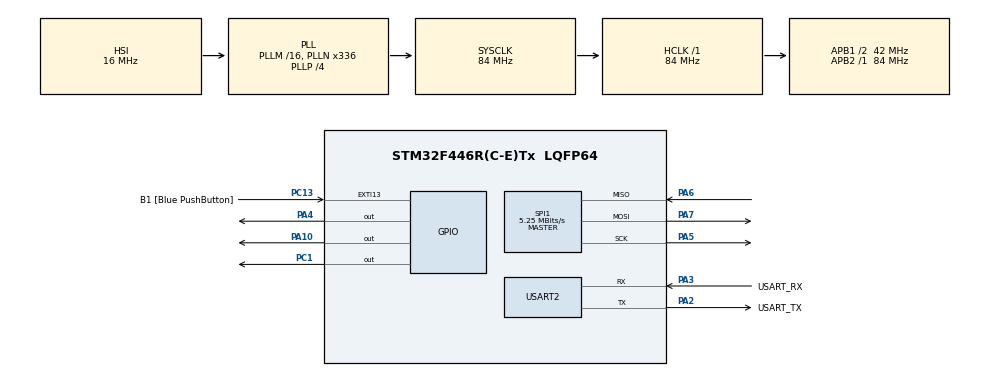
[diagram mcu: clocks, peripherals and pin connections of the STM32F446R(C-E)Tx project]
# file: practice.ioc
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Mcu.Family=STM32F4
Mcu.Name=STM32F446R(C-E)Tx
Mcu.Package=LQFP64
NVIC.PriorityGroup=NVIC_PRIORITYGROUP_0
PA10.Signal=GPIO_Output
PA13.GPIO_Label=TMS
PA13.Mode=Serial_Wire
PA13.Signal=SYS_JTMS-SWDIO
PA14.GPIO_Label=TCK
PA14.Mode=Serial_Wire
PA14.Signal=SYS_JTCK-SWCLK
PA2.GPIO_Label=USART_TX
PA2.Mode=Asynchronous
PA2.Signal=USART2_TX
PA3.GPIO_Label=USART_RX
PA3.Mode=Asynchronous
PA3.Signal=USART2_RX
PA4.PinState=GPIO_PIN_SET
PA4.Signal=GPIO_Output
PA5.Mode=Full_Duplex_Master
PA5.Signal=SPI1_SCK
PA6.Mode=Full_Duplex_Master
PA6.Signal=SPI1_MISO
PA7.Mode=Full_Duplex_Master
PA7.Signal=SPI1_MOSI
PB3.GPIO_Label=SWO
PB3.Signal=SYS_JTDO-SWO
PC1.Signal=GPIO_Output
PC13.GPIO_Label=B1 [Blue PushButton]
PC13.GPIO_ModeDefaultEXTI=GPIO_MODE_IT_FALLING
PC13.Signal=GPXTI13
PC14-OSC32_IN.Mode=LSE-External-Oscillator
PC14-OSC32_IN.Signal=RCC_OSC32_IN
PC15-OSC32_OUT.Mode=LSE-External-Oscillator
PC15-OSC32_OUT.Signal=RCC_OSC32_OUT
PH0-OSC_IN.Mode=HSE-External-Oscillator
PH0-OSC_IN.Signal=RCC_OSC_IN
PH1-OSC_OUT.Mode=HSE-External-Oscillator
PH1-OSC_OUT.Signal=RCC_OSC_OUT
ProjectManager.HeapSize=0x200
ProjectManager.StackSize=0x400
ProjectManager.TargetToolchain=Makefile
RCC.48MHZClocksFreq_Value=84000000
RCC.AHBFreq_Value=84000000
RCC.APB1CLKDivider=RCC_HCLK_DIV2
RCC.APB1Freq_Value=42000000
RCC.APB1TimFreq_Value=84000000
RCC.APB2Freq_Value=84000000
RCC.APB2TimFreq_Value=84000000
RCC.CortexFreq_Value=84000000
RCC.FLatency-AdvancedSettings=FLASH_LATENCY_2
RCC.HCLKFreq_Value=84000000
RCC.HSE_VALUE=8000000
RCC.HSI_VALUE=16000000
RCC.PLLN=336
RCC.PLLP=RCC_PLLP_DIV4
RCC.SYSCLKFreq_VALUE=84000000
RCC.SYSCLKSource=RCC_SYSCLKSOURCE_PLLCLK
RCC.USBFreq_Value=168000000
RCC.VCOOutputFreq_Value=336000000
SPI1.BaudRatePrescaler=SPI_BAUDRATEPRESCALER_16
SPI1.CLKPhase=SPI_PHASE_2EDGE
SPI1.CLKPolarity=SPI_POLARITY_HIGH
SPI1.CalculateBaudRate=5.25 MBits/s
SPI1.Direction=SPI_DIRECTION_2LINES
SPI1.Mode=SPI_MODE_MASTER
SPI1.VirtualType=VM_MASTER
USART2.VirtualMode=VM_ASYNC
board=NUCLEO-F446RE

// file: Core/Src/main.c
/* USER CODE BEGIN Header */
/**
  ******************************************************************************
  * @file           : main.c
  * @brief          : Main program body
  ******************************************************************************
  * @attention
  *
  * <h2><center>&copy; Copyright (c) 2021 STMicroelectronics.
  * All rights reserved.</center></h2>
  *
  * This software component is licensed by ST under BSD 3-Clause license,
  * the "License"; You may not use this file except in compliance with the
  * License. You may obtain a copy of the License at:
  *                        opensource.org/licenses/BSD-3-Clause
  *
  ******************************************************************************
  */
/* USER CODE END Header */
#include "main.h"

/* USER CODE BEGIN Includes */
#include <stdio.h>
/* USER CODE END Includes */

SPI_HandleTypeDef hspi1;

UART_HandleTypeDef huart2;

void SystemClock_Config(void);
static void MX_GPIO_Init(void);
static void MX_USART2_UART_Init(void);
static void MX_SPI1_Init(void);

/* USER CODE BEGIN 0 */
uint8_t spi_gyro_read(uint8_t);
float gyro_offset = 0.0f;
void imu_calibulation()
{
  float temp = 0.0f;
  int times = 1000;
  for(int i=0; i < times; i++){
    temp += spi_gyro_OUT_Z();
    HAL_Delay(1);
  }
  gyro_offset = temp / times;
}
float spi_gyro_OUT_Z(void)
{
  /*HAL_Delay(1);*/

  uint16_t Z_H = spi_gyro_read(0x2D);
  uint16_t Z_L = spi_gyro_read(0x2C);
  /*printf("Z = %d\r\n", (int16_t)((Z_H << 8) + Z_L));*/
  /*HAL_Delay(1);*/
  return (float)((int16_t)((Z_H << 8) + Z_L)) * 0.00875f;
}
float read_gyro()
{
  return spi_gyro_OUT_Z() - gyro_offset;
}
void spi_gyro_who_am_i(void)
{
  HAL_Delay(100);
  uint8_t report = spi_gyro_read(0x0f);
  printf("WHO_AM_I = %d\r\n", report);
  HAL_Delay(100);
}

void spi_gyro_write(uint8_t address, uint8_t value)
{
  uint8_t transmit[2] = {address, value};
  HAL_GPIO_WritePin(GPIOA, GPIO_PIN_4, 0); //CSピン立ち下げ
  HAL_Delay(1);
  HAL_SPI_Transmit(&hspi1, transmit, 2, 100);
  HAL_Delay(1);
  HAL_GPIO_WritePin(GPIOA, GPIO_PIN_4, 1); //CSピン立ち上げ
}

uint8_t spi_gyro_read(uint8_t address)
{
  HAL_GPIO_WritePin(GPIOA, GPIO_PIN_4, 0); //CSピン立ち下げ
  //HAL_Delay(1);
  uint8_t transmit[2];
  transmit[0] = address | 0x80;
  uint8_t receive[2];
  HAL_SPI_TransmitReceive(&hspi1, transmit, receive, 2, 100);
  //HAL_Delay(1);
  HAL_GPIO_WritePin(GPIOA, GPIO_PIN_4, 1); //CSピン立ち上げ
  return receive[1];
}
/* USER CODE END 0 */

int main(void)
{
  /* USER CODE BEGIN 1 */
  setbuf(stdout, NULL);
  /* USER CODE END 1 */

  /* MCU Configuration--------------------------------------------------------*/

  /* Reset of all peripherals, Initializes the Flash interface and the Systick. */
  HAL_Init();

  /* Configure the system clock */
  SystemClock_Config();

  /* Initialize all configured peripherals */
  MX_GPIO_Init();
  MX_USART2_UART_Init();
  MX_SPI1_Init();
  /* USER CODE BEGIN 2 */
  printf("0x20=%d\r\n", spi_gyro_read(0x20));
  spi_gyro_write(0x20, 0x0f);
  spi_gyro_who_am_i();
  printf("0x20=%d\r\n", spi_gyro_read(0x20));

  /* USER CODE END 2 */

  /* Infinite loop */
  /* USER CODE BEGIN WHILE */
  float sum = 0;
  while (1)
  {
    /* USER CODE END WHILE */

    /* USER CODE BEGIN 3 */
    HAL_GPIO_TogglePin(GPIOC, GPIO_PIN_1);

    for (int i = 0; i < 1000; i++)
    {
      sum += read_gyro() * 0.001f;
      HAL_Delay(1);
    }
    sum -= 2;
    printf("%d\r\n", (int16_t)sum);
  }
  /* USER CODE END 3 */
}

void SystemClock_Config(void)
{
  RCC_OscInitTypeDef RCC_OscInitStruct = {0};
  RCC_ClkInitTypeDef RCC_ClkInitStruct = {0};

  /** Configure the main internal regulator output voltage
  */
  __HAL_RCC_PWR_CLK_ENABLE();
  __HAL_PWR_VOLTAGESCALING_CONFIG(PWR_REGULATOR_VOLTAGE_SCALE3);
  /** Initializes the RCC Oscillators according to the specified parameters
  * in the RCC_OscInitTypeDef structure.
  */
  RCC_OscInitStruct.OscillatorType = RCC_OSCILLATORTYPE_HSI;
  RCC_OscInitStruct.HSIState = RCC_HSI_ON;
  RCC_OscInitStruct.HSICalibrationValue = RCC_HSICALIBRATION_DEFAULT;
  RCC_OscInitStruct.PLL.PLLState = RCC_PLL_ON;
  RCC_OscInitStruct.PLL.PLLSource = RCC_PLLSOURCE_HSI;
  RCC_OscInitStruct.PLL.PLLM = 16;
  RCC_OscInitStruct.PLL.PLLN = 336;
  RCC_OscInitStruct.PLL.PLLP = RCC_PLLP_DIV4;
  RCC_OscInitStruct.PLL.PLLQ = 2;
  RCC_OscInitStruct.PLL.PLLR = 2;
  if (HAL_RCC_OscConfig(&RCC_OscInitStruct) != HAL_OK)
  {
    Error_Handler();
  }
  /** Initializes the CPU, AHB and APB buses clocks
  */
  RCC_ClkInitStruct.ClockType = RCC_CLOCKTYPE_HCLK | RCC_CLOCKTYPE_SYSCLK | RCC_CLOCKTYPE_PCLK1 | RCC_CLOCKTYPE_PCLK2;
  RCC_ClkInitStruct.SYSCLKSource = RCC_SYSCLKSOURCE_PLLCLK;
  RCC_ClkInitStruct.AHBCLKDivider = RCC_SYSCLK_DIV1;
  RCC_ClkInitStruct.APB1CLKDivider = RCC_HCLK_DIV2;
  RCC_ClkInitStruct.APB2CLKDivider = RCC_HCLK_DIV1;

  if (HAL_RCC_ClockConfig(&RCC_ClkInitStruct, FLASH_LATENCY_2) != HAL_OK)
  {
    Error_Handler();
  }
}

static void MX_SPI1_Init(void)
{

  /* SPI1 parameter configuration*/
  hspi1.Instance = SPI1;
  hspi1.Init.Mode = SPI_MODE_MASTER;
  hspi1.Init.Direction = SPI_DIRECTION_2LINES;
  hspi1.Init.DataSize = SPI_DATASIZE_8BIT;
  hspi1.Init.CLKPolarity = SPI_POLARITY_HIGH;
  hspi1.Init.CLKPhase = SPI_PHASE_2EDGE;
  hspi1.Init.NSS = SPI_NSS_SOFT;
  hspi1.Init.BaudRatePrescaler = SPI_BAUDRATEPRESCALER_16;
  hspi1.Init.FirstBit = SPI_FIRSTBIT_MSB;
  hspi1.Init.TIMode = SPI_TIMODE_DISABLE;
  hspi1.Init.CRCCalculation = SPI_CRCCALCULATION_DISABLE;
  hspi1.Init.CRCPolynomial = 10;
  if (HAL_SPI_Init(&hspi1) != HAL_OK)
  {
    Error_Handler();
  }
}

static void MX_USART2_UART_Init(void)
{

  huart2.Instance = USART2;
  huart2.Init.BaudRate = 115200;
  huart2.Init.WordLength = UART_WORDLENGTH_8B;
  huart2.Init.StopBits = UART_STOPBITS_1;
  huart2.Init.Parity = UART_PARITY_NONE;
  huart2.Init.Mode = UART_MODE_TX_RX;
  huart2.Init.HwFlowCtl = UART_HWCONTROL_NONE;
  huart2.Init.OverSampling = UART_OVERSAMPLING_16;
  if (HAL_UART_Init(&huart2) != HAL_OK)
  {
    Error_Handler();
  }
}

static void MX_GPIO_Init(void)
{
  GPIO_InitTypeDef GPIO_InitStruct = {0};

  /* GPIO Ports Clock Enable */
  __HAL_RCC_GPIOC_CLK_ENABLE();
  __HAL_RCC_GPIOH_CLK_ENABLE();
  __HAL_RCC_GPIOA_CLK_ENABLE();
  __HAL_RCC_GPIOB_CLK_ENABLE();

  /*Configure GPIO pin Output Level */
  HAL_GPIO_WritePin(GPIOC, GPIO_PIN_1, GPIO_PIN_RESET);

  /*Configure GPIO pin Output Level */
  HAL_GPIO_WritePin(GPIOA, GPIO_PIN_4, GPIO_PIN_SET);

  /*Configure GPIO pin Output Level */
  HAL_GPIO_WritePin(GPIOA, GPIO_PIN_10, GPIO_PIN_RESET);

  /*Configure GPIO pin : B1_Pin */
  GPIO_InitStruct.Pin = B1_Pin;
  GPIO_InitStruct.Mode = GPIO_MODE_IT_FALLING;
  GPIO_InitStruct.Pull = GPIO_NOPULL;
  HAL_GPIO_Init(B1_GPIO_Port, &GPIO_InitStruct);

  /*Configure GPIO pin : PC1 */
  GPIO_InitStruct.Pin = GPIO_PIN_1;
  GPIO_InitStruct.Mode = GPIO_MODE_OUTPUT_PP;
  GPIO_InitStruct.Pull = GPIO_NOPULL;
  GPIO_InitStruct.Speed = GPIO_SPEED_FREQ_LOW;
  HAL_GPIO_Init(GPIOC, &GPIO_InitStruct);

  /*Configure GPIO pins : PA4 PA10 */
  GPIO_InitStruct.Pin = GPIO_PIN_4 | GPIO_PIN_10;
  GPIO_InitStruct.Mode = GPIO_MODE_OUTPUT_PP;
  GPIO_InitStruct.Pull = GPIO_NOPULL;
  GPIO_InitStruct.Speed = GPIO_SPEED_FREQ_LOW;
  HAL_GPIO_Init(GPIOA, &GPIO_InitStruct);
}

/* USER CODE BEGIN 4 */
int _write(int file, char *ptr, int len)
{
  HAL_UART_Transmit(&huart2, (uint8_t *)ptr, len, 10);
  return len;
}
/* USER CODE END 4 */

void Error_Handler(void)
{
  __disable_irq();
  while (1)
  {
  }
}

/************************ (C) COPYRIGHT STMicroelectronics *****END OF FILE****/
